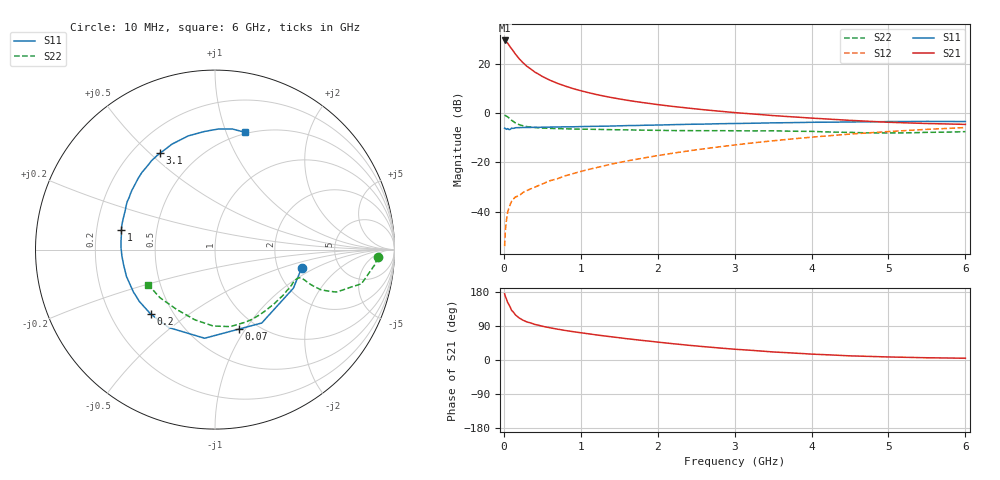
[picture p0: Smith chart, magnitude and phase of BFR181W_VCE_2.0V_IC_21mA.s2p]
! (c) 2017  Infineon Technologies AG, Munich
! Infineon Technologies  Discrete & RF Semiconductors
! BFR181W
! VCE =  2.0 V,  IC =  21 mA
! Common Emitter S-Parameters:  Jan 2017
# GHz  S  MA  R  50
!  f  S11  S21  S12  S22
! GHz  MAG  ANG  MAG  ANG  MAG  ANG  MAG  ANG
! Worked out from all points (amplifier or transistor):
!   77 points, 10 MHz to 6 GHz, reference 50 ohm
!   highest |S21| = 29.5 dB at 10 MHz (marker M1)
!   |S21| within 3 dB of that: start of sweep to 91.91 MHz
!   unconditionally stable (mu >= 1): start of sweep to 11.21 MHz; 308.6 MHz to 3.077 GHz; 5.513 GHz to end of sweep
!   at 130 MHz: K = 0.59, MSG = 29.8 dB, |S12| = -34.7 dB
!   at 2.2 GHz: K = 1.14, MAG = 7.2 dB, |S12| = -16.3 dB
!   at 6 GHz: K = 1.03, MAG = -0.4 dB, |S12| = -5.9 dB
!   S11 on the Smith chart (normalised r, x): 10 MHz: 2.72, -0.73; 70 MHz: 0.83, -0.93; 200 MHz: 0.38, -0.36; 1 GHz: 0.31, +0.10; 3.1 GHz: 0.31, +0.54; 6 GHz: 0.48, +1.16
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0.01  0.4936 -11.9  29.71 174.6  0.002 83.9  0.9087 -2.7
0.02  0.4868 -26.2  29.24 167.7  0.0042 85.6  0.8935 -5.5
0.05  0.4849 -57.5  26.2 151.5  0.0099 68.5  0.8382 -13.1
0.07  0.4625 -73.3  23.5 144.7  0.0124 63.9  0.7883 -15.3
0.1  0.4973 -96.7  20.28 131.4  0.0162 59.6  0.7161 -19.3
0.15  0.5048 -120.6  15.75 119.2  0.0199 55.6  0.6321 -20.8
0.2  0.5073 -135.0  12.61 110.8  0.0211 54.8  0.5818 -20.3
0.25  0.5109 -145.5  10.47 104.9  0.0247 56.2  0.5523 -19.7
0.3  0.5123 -152.8  8.887 100.5  0.0269 58.4  0.5315 -18.9
0.4  0.5155 -163.2  6.838 94.0  0.0313 61.0  0.5091 -18.3
0.5  0.5163 -170.6  5.521 89.1  0.0365 64.9  0.4975 -18.4
0.6  0.52 -176.2  4.64 85.0  0.0425 67.2  0.4896 -18.9
0.7  0.5234 179.2  3.998 81.3  0.0469 69.6  0.4841 -19.6
0.8  0.5258 175.0  3.521 77.9  0.0536 71.1  0.4799 -20.7
1  0.5328 168.0  2.843 71.9  0.0655 73.7  0.4717 -23.3
1.1  0.5369 164.9  2.596 69.2  0.0719 74.8  0.4707 -24.8
1.5  0.5517 154.0  1.937 58.8  0.0994 76.2  0.4587 -31.8
2.1  0.5771 139.8  1.424 45.1  0.1455 75.6  0.4444 -44.8
3.1  0.6178 119.8  0.996 27.1  0.2351 69.4  0.4369 -69.2
4.1  0.6517 101.6  0.775 14.7  0.3343 59.4  0.42 -94.1
5.1  0.6729 87.0  0.644 7.6  0.4311 47.4  0.3957 -125.9
6  0.6747 75.8  0.59 4.7  0.5088 36.1  0.4204 -152.3
